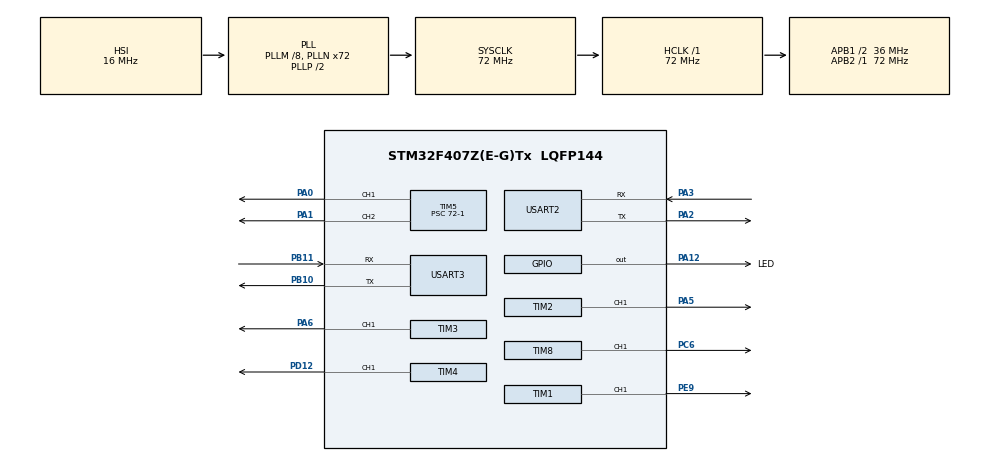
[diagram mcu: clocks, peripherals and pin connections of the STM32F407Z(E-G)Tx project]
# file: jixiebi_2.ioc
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Mcu.Family=STM32F4
Mcu.Name=STM32F407Z(E-G)Tx
Mcu.Package=LQFP144
NVIC.PriorityGroup=NVIC_PRIORITYGROUP_4
NVIC.USART2_IRQn=true\:0\:0\:false\:false\:true\:true\:true\:true
NVIC.USART3_IRQn=true\:0\:0\:false\:false\:true\:true\:true\:true
PA0-WKUP.Signal=S_TIM5_CH1
PA1.Signal=S_TIM5_CH2
PA12.GPIO_Label=LED
PA12.Signal=GPIO_Output
PA13.Mode=Serial_Wire
PA13.Signal=SYS_JTMS-SWDIO
PA14.Mode=Serial_Wire
PA14.Signal=SYS_JTCK-SWCLK
PA2.Mode=Asynchronous
PA2.Signal=USART2_TX
PA3.Mode=Asynchronous
PA3.Signal=USART2_RX
PA5.Signal=S_TIM2_CH1_ETR
PA6.Signal=S_TIM3_CH1
PB10.Mode=Asynchronous
PB10.Signal=USART3_TX
PB11.Mode=Asynchronous
PB11.Signal=USART3_RX
PC14-OSC32_IN.Mode=LSE-External-Oscillator
PC14-OSC32_IN.Signal=RCC_OSC32_IN
PC15-OSC32_OUT.Mode=LSE-External-Oscillator
PC15-OSC32_OUT.Signal=RCC_OSC32_OUT
PC6.Signal=S_TIM8_CH1
PD12.Signal=S_TIM4_CH1
PE9.Signal=S_TIM1_CH1
PH0-OSC_IN.Mode=HSE-External-Oscillator
PH0-OSC_IN.Signal=RCC_OSC_IN
PH1-OSC_OUT.Mode=HSE-External-Oscillator
PH1-OSC_OUT.Signal=RCC_OSC_OUT
ProjectManager.HeapSize=0x200
ProjectManager.StackSize=0x400
ProjectManager.TargetToolchain=MDK-ARM V5.32
RCC.48MHZClocksFreq_Value=36000000
RCC.AHBFreq_Value=72000000
RCC.APB1CLKDivider=RCC_HCLK_DIV2
RCC.APB1Freq_Value=36000000
RCC.APB1TimFreq_Value=72000000
RCC.APB2Freq_Value=72000000
RCC.APB2TimFreq_Value=72000000
RCC.CortexFreq_Value=72000000
RCC.HCLKFreq_Value=72000000
RCC.HSE_VALUE=25000000
RCC.HSI_VALUE=16000000
RCC.PLLM=8
RCC.PLLN=72
RCC.SYSCLKFreq_VALUE=72000000
RCC.SYSCLKSource=RCC_SYSCLKSOURCE_PLLCLK
RCC.VCOOutputFreq_Value=144000000
SH.S_TIM1_CH1.0=TIM1_CH1,PWM Generation1 CH1
SH.S_TIM2_CH1_ETR.0=TIM2_CH1,PWM Generation1 CH1
SH.S_TIM3_CH1.0=TIM3_CH1,PWM Generation1 CH1
SH.S_TIM4_CH1.0=TIM4_CH1,PWM Generation1 CH1
SH.S_TIM5_CH1.0=TIM5_CH1,PWM Generation1 CH1
SH.S_TIM5_CH2.0=TIM5_CH2,PWM Generation2 CH2
SH.S_TIM8_CH1.0=TIM8_CH1,PWM Generation1 CH1
TIM1.Channel-PWM\ Generation1\ CH1=TIM_CHANNEL_1
TIM1.Period=20000-1
TIM1.Prescaler=72-1
TIM1.Pulse-PWM\ Generation1\ CH1=2500
TIM2.Channel-PWM\ Generation1\ CH1=TIM_CHANNEL_1
TIM2.Period=20000-1
TIM2.Prescaler=72-1
TIM2.Pulse-PWM\ Generation1\ CH1=2500
TIM3.Channel-PWM\ Generation1\ CH1=TIM_CHANNEL_1
TIM3.Period=20000-1
TIM3.Prescaler=72-1
TIM3.Pulse-PWM\ Generation1\ CH1=2500
TIM4.Channel-PWM\ Generation1\ CH1=TIM_CHANNEL_1
TIM4.Period=20000-1
TIM4.Prescaler=72-1
TIM4.Pulse-PWM\ Generation1\ CH1=2500
TIM5.Channel-PWM\ Generation1\ CH1=TIM_CHANNEL_1
TIM5.Channel-PWM\ Generation2\ CH2=TIM_CHANNEL_2
TIM5.Period=20000-1
TIM5.Prescaler=72-1
TIM8.Channel-PWM\ Generation1\ CH1=TIM_CHANNEL_1
TIM8.Period=20000-1
TIM8.Prescaler=72-1
TIM8.Pulse-PWM\ Generation1\ CH1=2500
USART2.VirtualMode=VM_ASYNC
USART3.VirtualMode=VM_ASYNC
VP_TIM1_VS_ClockSourceINT.Mode=Internal
VP_TIM2_VS_ClockSourceINT.Mode=Internal
VP_TIM3_VS_ClockSourceINT.Mode=Internal
VP_TIM4_VS_ClockSourceINT.Mode=Internal
VP_TIM5_VS_ClockSourceINT.Mode=Internal
VP_TIM8_VS_ClockSourceINT.Mode=Internal
board=custom

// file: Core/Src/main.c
/* USER CODE BEGIN Header */
/**
  ******************************************************************************
  * @file           : main.c
  * @brief          : Main program body
  ******************************************************************************
  * @attention
  *
  * Copyright (c) 2025 STMicroelectronics.
  * All rights reserved.
  *
  * This software is licensed under terms that can be found in the LICENSE file
  * in the root directory of this software component.
  * If no LICENSE file comes with this software, it is provided AS-IS.
  *
  ******************************************************************************
  */
/* USER CODE END Header */
#include "main.h"
#include "tim.h"
#include "usart.h"
#include "gpio.h"

/* USER CODE BEGIN Includes */
#include "global.h"
#include "stdio.h"
#include "stdlib.h"
#include "robot_arm.h"
#include "string.h"
#include "usart.h"
#include "arm_auto.h"
/* USER CODE END Includes */

/* USER CODE BEGIN PD */
#define RX_BUFFER_SIZE 100
uint8_t Serial_RxPacket[RX_BUFFER_SIZE] = {0};
uint8_t Serial_RxFlag = 0;
uint8_t Serial_RxIndex = 0;
uint8_t View_RxByte;
#define M_PI 3.14159
/* USER CODE END PD */

/* USER CODE BEGIN PV */

static float robot_param1 = 20.0f;
static float robot_param2 = 0.0f;
static float robot_param3 = 15.0f;
static float robot_param4 = 0.0f;
static float robot_param5 = 0.0f;
static float robot_param6 = 0.0f;
static float robot_param7 = 0.0f;
static float robot_param8 = 0.0f;
static float robot_param9 = 0.0f;
static float robot_param10 = 0.0f;

static uint8_t slider_ctrl_group = 0;

static float robot_param1_temp = 20.0f;
static float robot_param2_temp = 0.0f;

static uint8_t auto_param1 = 0;
static uint8_t auto_param2 = 0;

/* USER CODE END PV */

void SystemClock_Config(void);
/* USER CODE BEGIN PFP */
void remove_brackets(uint8_t *buf);
void Process_Received_Command(void);
void Process_Key_Command(char *data);
void Process_Slider_Command(char *data);
void Process_Joystick_Command(char *data);
void Process_Location_Command(char *data);
void Process_Auto_Command(char *data);

/* USER CODE END PFP */

/* USER CODE BEGIN 0 */
int fputc(int ch,FILE *f)
{
    HAL_UART_Transmit(&huart2,(uint8_t *)&ch,1,100);
    return ch;
}

void remove_brackets(uint8_t *buf)
{
  uint32_t len = strlen((char *)buf);
  if (len >= 2 && buf[0] == '[' && buf[len-1] == ']')
  {
    buf[len-1] = '\0';
    memmove(buf, buf+1, len-1);
  }
}

void Process_Auto_Command(char *data)
{

  char *num1_str = strtok(data, ",");
  char *num2_str = strtok(NULL, ",");

  if (num1_str == NULL || num2_str == NULL)
  {
		uint8_t err_msg1[] = "error\r\n";
    HAL_UART_Transmit(&huart3, err_msg1, sizeof(err_msg1)-1, HAL_MAX_DELAY);
    return;
  }

  auto_param1 = atoi(num1_str);
  auto_param2 = atoi(num2_str);

	uint8_t send_buf[16] = {0};

	sprintf((char*)send_buf, "%d,%d", auto_param1, auto_param2);
	HAL_UART_Transmit(&huart3, send_buf, strlen((char*)send_buf), HAL_MAX_DELAY);

	printf( "%d,%d\r\n", auto_param1, auto_param2);

}
void Process_Key_Command(char *data)
{
  char *Name = strtok(data, ",");
  char *Action = strtok(NULL, ",");

  if (Name != NULL && Action != NULL)
  {

    if (strcmp(Name, "1") == 0 && strcmp(Action, "up") == 0)
    {
      slider_ctrl_group = 1;
    }

    else if (strcmp(Name, "2") == 0 && strcmp(Action, "down") == 0)
    {
      slider_ctrl_group = 2;
    }

  }
}

void polar_to_xy(float length, float angle_deg)
{
    float angle_rad = angle_deg * (float)M_PI / 180.0f;

    robot_param1 = length * cosf(angle_rad);
    robot_param2 = length * sinf(angle_rad);
}

void Process_Slider_Command(char *data)
{
  char *Axis = strtok(data, ",");
  char *Value = strtok(NULL, ",");

  if (Axis != NULL && Value != NULL)
  {
    float slider_val = atof(Value);
    float coordinate_val = slider_val;
    uint8_t is_valid = 1;

    if (slider_ctrl_group == 1)
    {

      if (strcmp(Axis, "6") == 0 || strcmp(Axis, "7") == 0 ||
          strcmp(Axis, "8") == 0 || strcmp(Axis, "9") == 0)
      {
        is_valid = 0;
      }
    }
    else if (slider_ctrl_group == 2)
    {

      if (strcmp(Axis, "2") == 0 || strcmp(Axis, "3") == 0 ||
          strcmp(Axis, "4") == 0 || strcmp(Axis, "5") == 0)
      {
        is_valid = 0;
       }
    }

    if (is_valid)
    {
      if (strcmp(Axis, "2") == 0)
      {
				float polar_length = coordinate_val;
				robot_param1_temp= polar_length;

        float polar_angle = robot_param2_temp;

				polar_to_xy(polar_length, polar_angle);

       }
      else if (strcmp(Axis, "3") == 0)
      {
        float polar_angle = coordinate_val;
				robot_param2_temp= polar_angle;
				float polar_length = robot_param1_temp;
				polar_to_xy(polar_length, polar_angle);
      }
      else if (strcmp(Axis, "4") == 0)
      {
        robot_param3 = coordinate_val;
      }
      else if (strcmp(Axis, "5") == 0)
      {
        robot_param4 = coordinate_val;
      }
      else if (strcmp(Axis, "6") == 0)
      {
        robot_param5 = coordinate_val;
        pwm_servo_angle_set(&pwm_servos[0],robot_param5,1000);
      }
      else if (strcmp(Axis, "7") == 0)
      {
        robot_param6 = coordinate_val;
        pwm_servo_angle_set(&pwm_servos[1],robot_param6,1000);
      }
      else if (strcmp(Axis, "8") == 0)
      {
        robot_param7 = coordinate_val;
        pwm_servo_angle_set(&pwm_servos[2],robot_param7,1000);
        printf("[slider,8,%.1f] -> Robot Arm Param7 : %.1f\r\n", slider_val, robot_param7);
      }
      else if (strcmp(Axis, "9") == 0)
      {
        robot_param8 = coordinate_val;
        pwm_servo_angle_set(&pwm_servos[3],robot_param8,1000);
      }
      else if (strcmp(Axis, "10") == 0)
      {
        robot_param9 = coordinate_val;
        pwm_servo_angle_set(&pwm_servos[4],robot_param9,1000);
      }
      else if (strcmp(Axis, "11") == 0)
      {
        robot_param10 = coordinate_val;
        pwm_servo_angle_set(&pwm_servos[5],robot_param10,1000);
      }
       if (strcmp(Axis, "2") == 0 || strcmp(Axis, "3") == 0 ||
          strcmp(Axis, "4") == 0 || strcmp(Axis, "5") == 0)
      {
        uint8_t ret = robot_arm_angle_set(
          robot_param1,
          robot_param2,
          robot_param3,
          0,
          -5.0f,
          40.0f,
          1000U
        );
      }
    }
  }
}

void Process_Joystick_Command(char *data)
{
  char *LH_str = strtok(data, ",");
  char *LV_str = strtok(NULL, ",");
  char *RH_str = strtok(NULL, ",");
  char *RV_str = strtok(NULL, ",");

  if (LH_str != NULL && LV_str != NULL && RH_str != NULL && RV_str != NULL)
  {
    float LH = atof(LH_str);
    float LV = atof(LV_str);
    float RH = atof(RH_str);
    float RV = atof(RV_str);
  }
}

void Process_Location_Command(char *data)
{
  char *a_str = strtok(data, ",");
  char *b_str = strtok(NULL, ",");
  char *c_str = strtok(NULL, ",");
  char *d_str = strtok(NULL, ",");

  if (a_str == NULL || b_str == NULL || c_str == NULL || d_str == NULL)
  {
    return;
  }

  float a = atof(a_str);
  float b = atof(b_str);
  float c = atof(c_str);
  float d = atof(d_str);

  robot_param1 = a;
  robot_param2 = b;
  robot_param3 = c;
  robot_param4 = d;

   uint8_t ret = robot_arm_angle_set(
    robot_param1,
    robot_param2,
    robot_param3,
    0,
    -5.0f,
    40.0f,
    1000U
  );

}

void Process_Received_Command(void)
{
  remove_brackets(Serial_RxPacket);

  char *Tag = strtok((char *)Serial_RxPacket, ",");
  char *Data = strtok(NULL, "\0");

  if (Tag == NULL)
  {
    goto cmd_reset;
  }

	if (strcmp(Tag, "auto") == 0)
  {
    Process_Auto_Command(Data);
  }

  else if (strcmp(Tag, "key") == 0)
  {
    Process_Key_Command(Data);
  }
  else if (strcmp(Tag, "slider") == 0)
  {
    Process_Slider_Command(Data);
  }
  else if (strcmp(Tag, "joystick") == 0)
  {
    Process_Joystick_Command(Data);
  }
  else if (strcmp(Tag, "location") == 0)
  {
    Process_Location_Command(Data);
  }

cmd_reset:
  Serial_RxFlag = 0;
  Serial_RxIndex = 0;
  memset(Serial_RxPacket, 0, RX_BUFFER_SIZE);
  HAL_UART_Receive_IT(&huart3, &Serial_RxPacket[Serial_RxIndex], 1);
}

/* USER CODE END 0 */

int main(void)
{

  /* MCU Configuration--------------------------------------------------------*/

  /* Reset of all peripherals, Initializes the Flash interface and the Systick. */
  HAL_Init();

  /* Configure the system clock */
  SystemClock_Config();

  /* Initialize all configured peripherals */
  MX_GPIO_Init();
  MX_TIM1_Init();
  MX_TIM2_Init();
  MX_TIM3_Init();
  MX_TIM4_Init();
  MX_TIM5_Init();
  MX_TIM8_Init();
  MX_USART2_UART_Init();
  MX_USART3_UART_Init();
  /* USER CODE BEGIN 2 */

	uint8_t connect_msg[] = "connect\r\n";
  HAL_UART_Transmit(&huart3, connect_msg, sizeof(connect_msg)-1, HAL_MAX_DELAY);
	robot_arm_init();
  VisionArm_Init();
	pwm_servo_angle_set(&pwm_servos[3], 85.0f, 200);
  pwm_servo_angle_set(&pwm_servos[4], 90.0f, 200);
	pwm_servo_angle_set(&pwm_servos[5], 150.0f, 2000);
	HAL_UART_Receive_IT(&huart3, &Serial_RxPacket[Serial_RxIndex], 1);
  HAL_UART_Receive_IT(&huart2, &View_RxByte, 1);

  /* USER CODE END 2 */

  /* Infinite loop */
  while (1)
  {

    /* USER CODE BEGIN 3 */

	if (Serial_RxFlag == 1)
    {
      Process_Received_Command();
    }

		  VisionArm_Cmd2_Task();
		  VisionArm_ScanTask();

  }
  /* USER CODE END 3 */
}

void SystemClock_Config(void)
{
  RCC_OscInitTypeDef RCC_OscInitStruct = {0};
  RCC_ClkInitTypeDef RCC_ClkInitStruct = {0};

  /** Configure the main internal regulator output voltage
  */
  __HAL_RCC_PWR_CLK_ENABLE();
  __HAL_PWR_VOLTAGESCALING_CONFIG(PWR_REGULATOR_VOLTAGE_SCALE1);

  /** Initializes the RCC Oscillators according to the specified parameters
  * in the RCC_OscInitTypeDef structure.
  */
  RCC_OscInitStruct.OscillatorType = RCC_OSCILLATORTYPE_HSI;
  RCC_OscInitStruct.HSIState = RCC_HSI_ON;
  RCC_OscInitStruct.HSICalibrationValue = RCC_HSICALIBRATION_DEFAULT;
  RCC_OscInitStruct.PLL.PLLState = RCC_PLL_ON;
  RCC_OscInitStruct.PLL.PLLSource = RCC_PLLSOURCE_HSI;
  RCC_OscInitStruct.PLL.PLLM = 8;
  RCC_OscInitStruct.PLL.PLLN = 72;
  RCC_OscInitStruct.PLL.PLLP = RCC_PLLP_DIV2;
  RCC_OscInitStruct.PLL.PLLQ = 4;
  if (HAL_RCC_OscConfig(&RCC_OscInitStruct) != HAL_OK)
  {
    Error_Handler();
  }

  /** Initializes the CPU, AHB and APB buses clocks
  */
  RCC_ClkInitStruct.ClockType = RCC_CLOCKTYPE_HCLK|RCC_CLOCKTYPE_SYSCLK
                              |RCC_CLOCKTYPE_PCLK1|RCC_CLOCKTYPE_PCLK2;
  RCC_ClkInitStruct.SYSCLKSource = RCC_SYSCLKSOURCE_PLLCLK;
  RCC_ClkInitStruct.AHBCLKDivider = RCC_SYSCLK_DIV1;
  RCC_ClkInitStruct.APB1CLKDivider = RCC_HCLK_DIV2;
  RCC_ClkInitStruct.APB2CLKDivider = RCC_HCLK_DIV1;

  if (HAL_RCC_ClockConfig(&RCC_ClkInitStruct, FLASH_LATENCY_2) != HAL_OK)
  {
    Error_Handler();
  }
}

/* USER CODE BEGIN 4 */

void HAL_UART_RxCpltCallback(UART_HandleTypeDef *huart)
{
  if (huart == &huart3)
  {
    // Check if reception is complete (newline character or buffer full)
    if (Serial_RxPacket[Serial_RxIndex] == '\n' || Serial_RxIndex >= RX_BUFFER_SIZE - 1)
    {
      // Handle \r\n newline characters
      if (Serial_RxIndex >= 1 && Serial_RxPacket[Serial_RxIndex - 1] == '\r')
      {
        Serial_RxPacket[Serial_RxIndex - 1] = '\0';  // Replace \r with terminator
      }
      else
      {
        Serial_RxPacket[Serial_RxIndex] = '\0';  // Replace \n with terminator
      }
      Serial_RxFlag = 1;  // Set reception complete flag
    }
    else
    {
      Serial_RxIndex++;  // Increment index
      // Continue receiving next byte
      HAL_UART_Receive_IT(&huart3, &Serial_RxPacket[Serial_RxIndex], 1);
    }
  }
	    if (huart == &huart2)
    {
        uint8_t ch = View_RxByte;
            VisionArm_OnUartByte(ch);

        // ��ס��ֱ�Ӷ�������ֽڣ��൱�ڡ��رմ���2��
			HAL_UART_Receive_IT(&huart2, &View_RxByte, 1);
    }
}

/* USER CODE END 4 */

void Error_Handler(void)
{
  __disable_irq();
  while (1)
  {
  }
}
